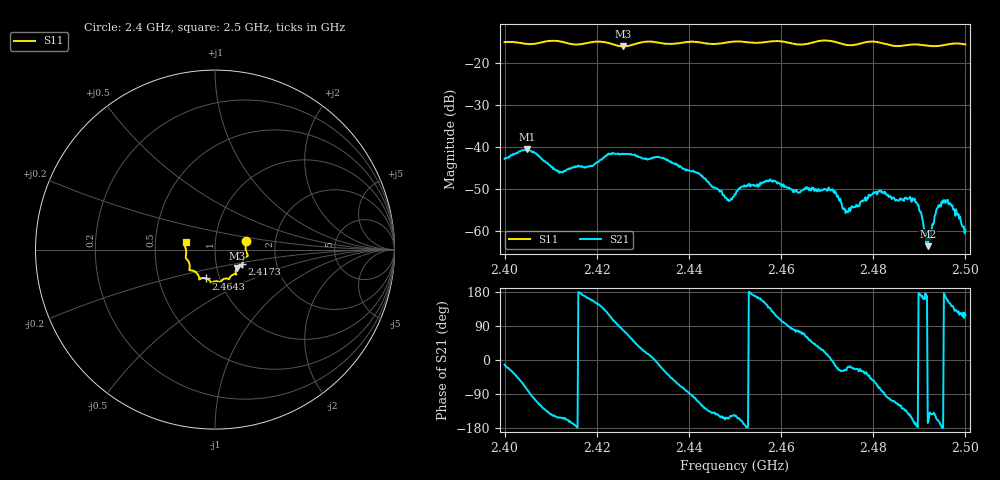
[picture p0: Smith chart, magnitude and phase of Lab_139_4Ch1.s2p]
# Hz S RI R 50
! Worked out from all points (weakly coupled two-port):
!   601 points, 2.4 GHz to 2.5 GHz, reference 50 ohm
!   highest |S21| = -40.49 dB at 2.4048 GHz (marker M1); lowest = -63.6 dB at 2.4918 GHz (marker M2)
!   lowest |S11| = -15.9 dB at 2.4257 GHz (marker M3), VSWR 1.38, Z = 62.5 - j13.1 ohm
!   |S11| at or under -10 dB: start of sweep to end of sweep
!   S12 and S22 are empty: the file has one direction only
!   S11 on the Smith chart (normalised r, x): 2.4 GHz: 1.41, +0.14; 2.4173 GHz: 1.34, -0.23; 2.4643 GHz: 0.86, -0.28; 2.5 GHz: 0.72, +0.06
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2.4e9  0.1732 0.0493  0.00709 -0.00156  0 0  0 0
2.404833e9  0.1705 0.0158  0.00211 -0.00921  0 0  0 0
2.412167e9  0.179 -0.0373  -0.00446 -0.00233  0 0  0 0
2.416667e9  0.153 -0.0747  -0.00588 0.000658  0 0  0 0
2.417333e9  0.152 -0.082  -0.00568 0.00111  0 0  0 0
2.425667e9  0.1228 -0.1022  0.00152 0.00813  0 0  0 0
2.433333e9  0.1129 -0.1371  0.00759 -0.00142  0 0  0 0
2.442333e9  0.0734 -0.1633  -0.00187 -0.00436  0 0  0 0
2.448333e9  0.0342 -0.1753  -0.00207 -0.00108  0 0  0 0
2.45e9  0.0294 -0.1808  -0.00234 -0.00149  0 0  0 0
2.457333e9  -0.0153 -0.1816  -0.00294 0.00256  0 0  0 0
2.464333e9  -0.0498 -0.1605  0.000829 0.00291  0 0  0 0
2.466667e9  -0.0759 -0.1597  0.00223 0.00242  0 0  0 0
2.471333e9  -0.0873 -0.1614  0.00294 -0.00033  0 0  0 0
2.4745e9  -0.1018 -0.1311  0.00158 -0.000518  0 0  0 0
2.480167e9  -0.1432 -0.1129  0.00166 -0.00238  0 0  0 0
2.483333e9  -0.1408 -0.0898  -0.00048 -0.00248  0 0  0 0
2.489e9  -0.1626 -0.0459  -0.00237 -0.000466  0 0  0 0
2.491833e9  -0.161 -0.0269  -0.000639 -0.000157  0 0  0 0
2.493833e9  -0.1614 -0.00388  -0.00171 -0.000722  0 0  0 0
2.495667e9  -0.1664 0.0162  -0.0021 0.000515  0 0  0 0
2.5e9  -0.1639 0.0418  -0.00048 0.000902  0 0  0 0
